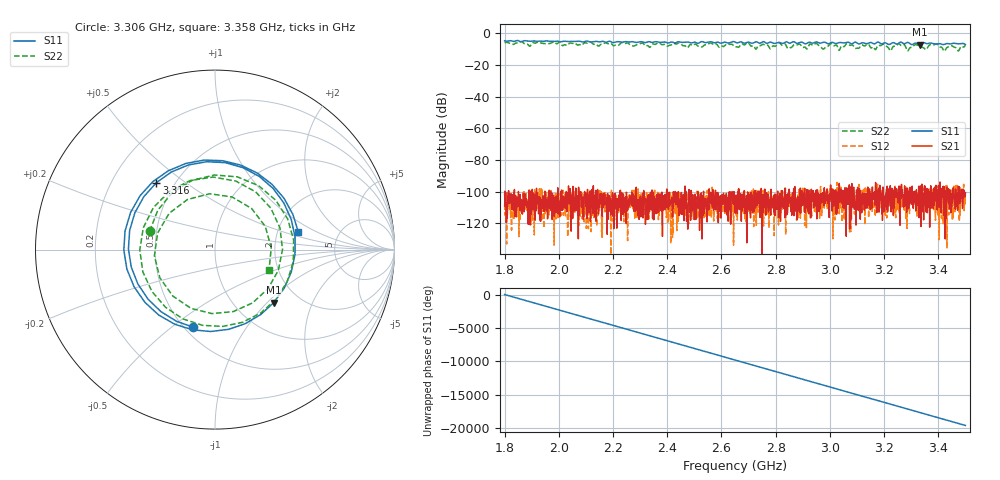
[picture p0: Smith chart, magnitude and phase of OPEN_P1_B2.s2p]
# Hz S RI R 50
! RAW DATA - UNCALIBRATED
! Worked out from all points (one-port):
!   1601 points, 1.8 GHz to 3.5 GHz, reference 50 ohm
!   lowest |S11| = -7.1 dB at 3.331 GHz (marker M1), VSWR 2.58, Z = 74.7 - j54.8 ohm
!   |S11| at or under -10 dB: nowhere
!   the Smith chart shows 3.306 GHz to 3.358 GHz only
!   S11 on the Smith chart (normalised r, x): 3.306 GHz: 0.55, -0.60; 3.316 GHz: 0.40, +0.39; 3.358 GHz: 2.62, +0.66
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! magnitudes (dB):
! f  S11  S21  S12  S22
! 1.8 GHz  -4.7  -101.7  -107.7  -5.7
! 2.084 GHz  -5.3  -109.9  -100.3  -7.5
! 2.367 GHz  -5.5  -107.8  -117.7  -5.9
! 2.65 GHz  -5.5  -105.9  -106.8  -8.5
! 2.783 GHz  -5.6  -98.5  -106.6  -9.5
! 2.813 GHz  -5.7  -116.5  -104.3  -5.7
! 2.91 GHz  -6.6  -104.8  -102.2  -9.0
! 2.934 GHz  -6.1  -100.3  -104.4  -7.3
! 2.975 GHz  -5.6  -107.0  -102.3  -9.9
! 3.004 GHz  -5.9  -104.5  -105.6  -6.4
! 3.099 GHz  -6.0  -106.2  -109.4  -9.4
! 3.197 GHz  -6.3  -112.7  -97.4  -6.8
! 3.217 GHz  -7.0  -104.9  -98.8  -9.5
! 3.253 GHz  -6.3  -107.2  -103.6  -6.4
! 3.289 GHz  -5.7  -100.4  -106.4  -10.9
! 3.306 GHz  -7.0  -104.9  -102.1  -8.4
! 3.316 GHz  -6.1  -107.0  -103.1  -7.1
! 3.331 GHz  -7.1  -102.6  -104.0  -7.7
! 3.358 GHz  -6.5  -98.0  -109.5  -9.8
! 3.389 GHz  -6.7  -105.3  -118.1  -6.6
! 3.422 GHz  -6.9  -96.9  -100.0  -11.3
! 3.5 GHz  -7.0  -100.8  -101.5  -7.4
